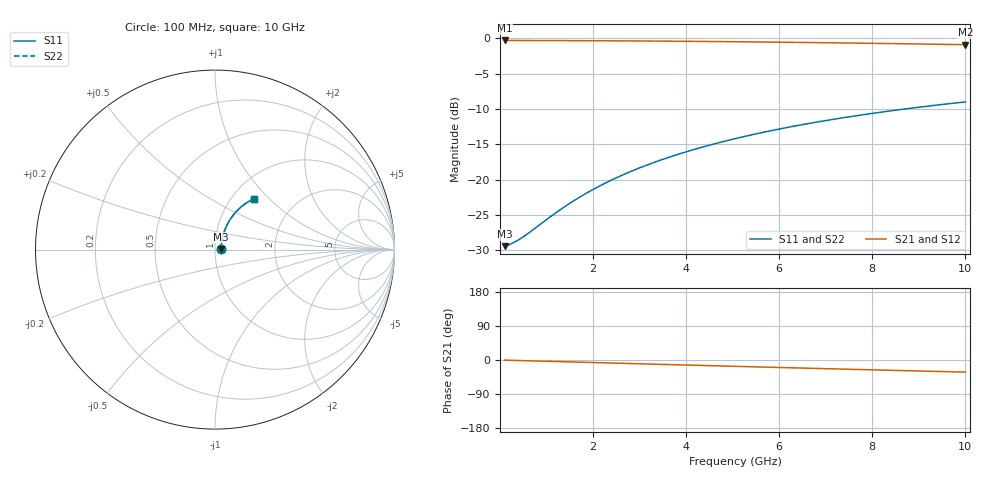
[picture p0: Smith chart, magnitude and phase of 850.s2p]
# Hz S RI R 50.00
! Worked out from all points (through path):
!   100 points, 100 MHz to 10 GHz, reference 50 ohm
!   highest |S21| = -0.30 dB at 100 MHz (marker M1); lowest = -0.9 dB at 10 GHz (marker M2)
!   group delay of S21, straight-line fit = 8.91 ps
!   lowest |S11| = -29.4 dB at 100 MHz (marker M3), VSWR 1.07, Z = 53.5 + j0.398 ohm
!   |S11| at or under -10 dB: start of sweep to 8.696 GHz
!   |S22| runs from -29.4 to -9.0 dB; largest |S21 - S12| = 0
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1e8  0.0336 0.00371  0.9664 -0.00565  0.9664 -0.00565  0.0336 0.00371
2e8  0.0339 0.00742  0.9661 -0.0113  0.9661 -0.0113  0.0339 0.00742
3e8  0.0342 0.0111  0.9658 -0.0169  0.9658 -0.0169  0.0342 0.0111
4e8  0.0345 0.0148  0.9655 -0.0226  0.9655 -0.0226  0.0345 0.0148
5e8  0.0348 0.0185  0.9652 -0.0282  0.9652 -0.0282  0.0348 0.0185
1.3e9  0.0385 0.0479  0.9612 -0.0731  0.9612 -0.0731  0.0385 0.0479
1.5e9  0.0398 0.0552  0.9598 -0.0843  0.9598 -0.0843  0.0398 0.0552
1.8e9  0.042 0.066  0.9573 -0.1009  0.9573 -0.1009  0.042 0.066
2.1e9  0.0447 0.0767  0.9545 -0.1175  0.9545 -0.1175  0.0447 0.0767
2.5e9  0.0487 0.0909  0.95 -0.1393  0.95 -0.1393  0.0487 0.0909
2.9e9  0.0534 0.1047  0.945 -0.161  0.945 -0.161  0.0534 0.1047
3.4e9  0.0601 0.1217  0.9376 -0.1876  0.9376 -0.1876  0.0601 0.1217
3.8e9  0.0661 0.1349  0.931 -0.2086  0.931 -0.2086  0.0661 0.1349
4.2e9  0.0727 0.1477  0.9238 -0.2292  0.9238 -0.2292  0.0727 0.1477
4.6e9  0.0799 0.1602  0.916 -0.2495  0.916 -0.2495  0.0799 0.1602
5.1e9  0.0895 0.1752  0.9054 -0.2743  0.9054 -0.2743  0.0895 0.1752
5.9e9  0.1065 0.1979  0.8867 -0.3125  0.8867 -0.3125  0.1065 0.1979
6.7e9  0.1252 0.2186  0.8661 -0.349  0.8661 -0.349  0.1252 0.2186
7.5e9  0.1453 0.2374  0.8437 -0.3834  0.8437 -0.3834  0.1453 0.2374
8.4e9  0.1694 0.2561  0.8167 -0.4198  0.8167 -0.4198  0.1694 0.2561
9.2e9  0.1919 0.2704  0.7915 -0.4498  0.7915 -0.4498  0.1919 0.2704
1e10  0.2151 0.2825  0.7652 -0.4778  0.7652 -0.4778  0.2151 0.2825
